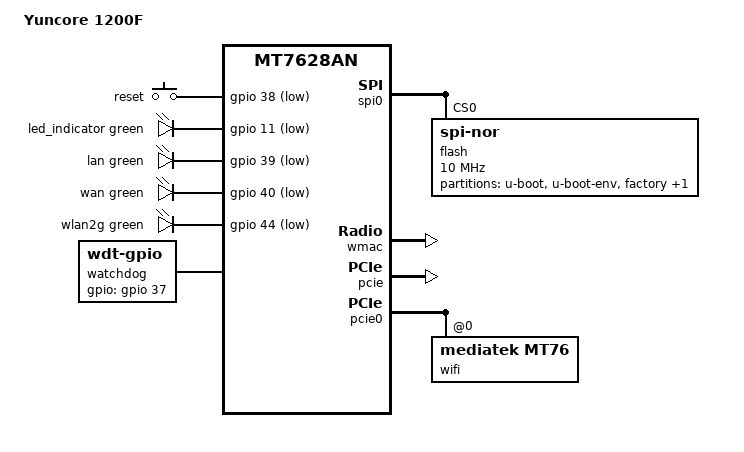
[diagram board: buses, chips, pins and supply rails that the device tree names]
#include "mt7628an.dtsi"

#include <dt-bindings/gpio/gpio.h>
#include <dt-bindings/input/input.h>
#include <dt-bindings/leds/common.h>

/ {
	compatible = "yuncore,1200f", "mediatek,mt7628an-soc";
	model = "Yuncore 1200F";

	chosen {
		bootargs = "console=ttyS0,57600";
	};

	keys {
		compatible = "gpio-keys";

		reset {
			label = "reset";
			gpios = <&gpio 38 GPIO_ACTIVE_LOW>;
			linux,code = <KEY_RESTART>;
		};
	};

	aliases {
		label-mac = &ethernet;
		led-boot = &led_indicator;
		led-failsafe = &led_indicator;
		led-running = &led_indicator;
		led-upgrade = &led_indicator;
	};

	leds {
		compatible = "gpio-leds";

		led_indicator: indicator {
			color = <LED_COLOR_ID_GREEN>;
			function = LED_FUNCTION_INDICATOR;
			gpios = <&gpio 11 GPIO_ACTIVE_LOW>;
		};

		lan {
			color = <LED_COLOR_ID_GREEN>;
			function = LED_FUNCTION_LAN;
			gpios = <&gpio 39 GPIO_ACTIVE_LOW>;
		};

		wan {
			color = <LED_COLOR_ID_GREEN>;
			function = LED_FUNCTION_WAN;
			gpios = <&gpio 40 GPIO_ACTIVE_LOW>;
		};

		wlan2g {
			color = <LED_COLOR_ID_GREEN>;
			function = LED_FUNCTION_WLAN;
			function-enumerator = <0>;
			gpios = <&gpio 44 GPIO_ACTIVE_LOW>;
			linux,default-trigger = "phy0radio";
		};
	};

	watchdog {
		compatible = "linux,wdt-gpio";
		gpios = <&gpio 37 GPIO_ACTIVE_HIGH>;
		hw_algo = "toggle";
		hw_margin_ms = <20000>;
		always-running;
	};
};

&spi0 {
	status = "okay";

	flash@0 {
		compatible = "jedec,spi-nor";
		reg = <0>;
		spi-max-frequency = <10000000>;

		partitions {
			compatible = "fixed-partitions";
			#address-cells = <1>;
			#size-cells = <1>;

			partition@0 {
				label = "u-boot";
				reg = <0x0 0x30000>;
				read-only;
			};

			partition@30000 {
				label = "u-boot-env";
				reg = <0x30000 0x10000>;
				read-only;
			};

			partition@40000 {
				label = "factory";
				reg = <0x40000 0x10000>;
				read-only;

				nvmem-layout {
					compatible = "fixed-layout";
					#address-cells = <1>;
					#size-cells = <1>;

					eeprom_factory_0: eeprom@0 {
						reg = <0x0 0x400>;
					};

					/*
					 * Observed at factory + 0x4:
					 * 9c:e5:49:60:2a:64
					 */
					macaddr_factory_4: macaddr@4 {
						reg = <0x4 0x6>;
					};

					/*
					 * Observed at factory + 0x28:
					 * 9c:e5:49:60:2a:65
					 */
					macaddr_factory_28: macaddr@28 {
						reg = <0x28 0x6>;
					};

					eeprom_factory_8000: eeprom@8000 {
						reg = <0x8000 0x4da8>;
					};

					/*
					 * Observed at factory + 0x8004:
					 * 9c:e5:49:60:2a:66
					 *
					 * Do not apply mac-address-increment here.
					 * The stored address is already the final 5 GHz MAC.
					 */
					macaddr_factory_8004: macaddr@8004 {
						reg = <0x8004 0x6>;
					};
				};
			};

			partition@50000 {
				compatible = "denx,uimage";
				label = "firmware";
				reg = <0x50000 0x7b0000>;
			};
		};
	};
};

&ethernet {
	nvmem-cells = <&macaddr_factory_4>;
	nvmem-cell-names = "mac-address";
};

&esw {
	mediatek,portmap = <0x2f>;
};

&wmac {
	status = "okay";

	nvmem-cells = <&eeprom_factory_0>, <&macaddr_factory_28>;
	nvmem-cell-names = "eeprom", "mac-address";

	/*
	 * Allow full 2.4 GHz band. The previous upper limit of 2462000
	 * caused channels 10-13 to appear disabled.
	 */
	ieee80211-freq-limit = <2400000 2500000>;
};

&state_default {
	gpio {
		groups = "pwm1", "pwm0", "uart2", "uart1", "i2c", "refclk",
			 "sdmode", "i2s", "spi cs1", "spis",
			 "gpio", "p0led_an", "p1led_an", "p2led_an", "p3led_an",
			 "p4led_an", "wled_kn", "wled_an", "p0led_kn", "p1led_kn",
			 "p2led_kn", "p3led_kn", "p4led_kn";
		function = "gpio";
	};

};

&pcie {
	status = "okay";
};

&pcie0 {
	wifi@0,0 {
		compatible = "mediatek,mt76";
		reg = <0x0000 0 0 0 0>;

		nvmem-cells = <&eeprom_factory_8000>, <&macaddr_factory_8004>;
		nvmem-cell-names = "eeprom", "mac-address";

		ieee80211-freq-limit = <5000000 6000000>;

		led {
			led-sources = <2>;
			led-active-low;
		};
	};
};
